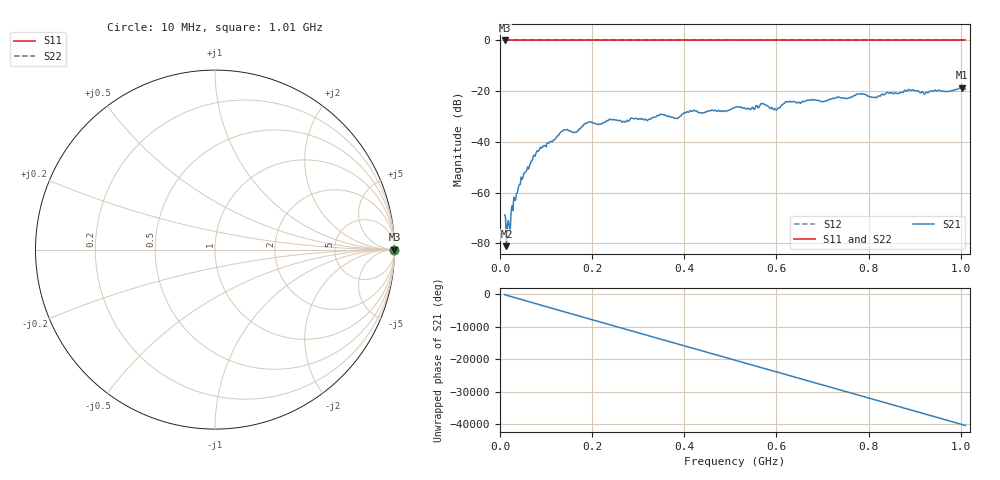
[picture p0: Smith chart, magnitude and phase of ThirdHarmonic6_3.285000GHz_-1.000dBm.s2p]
! 8/17/2025 10:12:07 AM
! C:\ANRITSUVNA\TEMP\TEMP.S2P
! CHANNEL.1
! TR.MEASUREMENT
! RAW.DATA
! RF.CORRECTION.OFF
! AVERAGING.OFF
! IF.BANDWIDTH: 5KHZ
! SWEEPTYPE:  FREQ.SWEEP(Linear)
! Reference Plane Port Info
! PORT:  PORT1  PORT2
! DISTANCE:  0  m  0  m
! TIME:  0  s  0  s
! PHASE.OFFSET:  0  deg.  0  deg.
! LOSS:  0  dB  0  dB
! REF.LOSS:  0  dB  0  dB
! REF.FREQ:  0  Hz  0  Hz
! Power Info
! POWER:  -20  dBm  -20  dBm
! EFF.POWER:  -20  dBm  -20  dBm
! SOURCE.ATTEN:  0  dB  0  dB
! TEST.ATTEN:  0  dB  0  dB
# GHZ S RI R 50.0
! FREQ.GHZ  S11RE  S11IM  S21RE  S21IM  S12RE  S12IM  S22RE  S22IM
!; PortSelection: Port_12
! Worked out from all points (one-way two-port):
!   501 points, 10 MHz to 1.01 GHz, reference 50 ohm
!   highest |S21| = -18.62 dB at 1.002 GHz (marker M1); lowest = -81.1 dB at 14 MHz (marker M2)
!   lowest |S11| = 0.0 dB at 10 MHz (marker M3)
!   |S11| at or under -10 dB: nowhere
!   |S22| runs from 0.0 to 0.0 dB; largest |S21 - S12| = 1.1
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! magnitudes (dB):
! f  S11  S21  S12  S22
! 10 MHz  0.0  -68.8  0.0  0.0
! 14 MHz  0.0  -81.1  0.0  0.0
! 18 MHz  0.0  -71.0  0.0  0.0
! 28 MHz  0.0  -67.1  0.0  0.0
! 42 MHz  0.0  -56.8  0.0  0.0
! 76 MHz  0.0  -45.7  0.0  0.0
! 136 MHz  0.0  -35.7  0.0  0.0
! 164 MHz  0.0  -36.2  0.0  0.0
! 178 MHz  0.0  -33.9  0.0  0.0
! 192 MHz  0.0  -32.3  0.0  0.0
! 344 MHz  0.0  -29.6  0.0  0.0
! 382 MHz  0.0  -30.7  0.0  0.0
! 416 MHz  0.0  -27.9  0.0  0.0
! 510 MHz  0.0  -26.4  0.0  0.0
! 548 MHz  0.0  -26.2  0.0  0.0
! 570 MHz  0.0  -24.8  0.0  0.0
! 598 MHz  0.0  -27.1  0.0  0.0
! 624 MHz  0.0  -24.2  0.0  0.0
! 678 MHz  0.0  -23.5  0.0  0.0
! 844 MHz  0.0  -20.8  0.0  0.0
! 1.002 GHz  0.0  -18.6  0.0  0.0
! 1.01 GHz  0.0  -19.2  0.0  0.0
